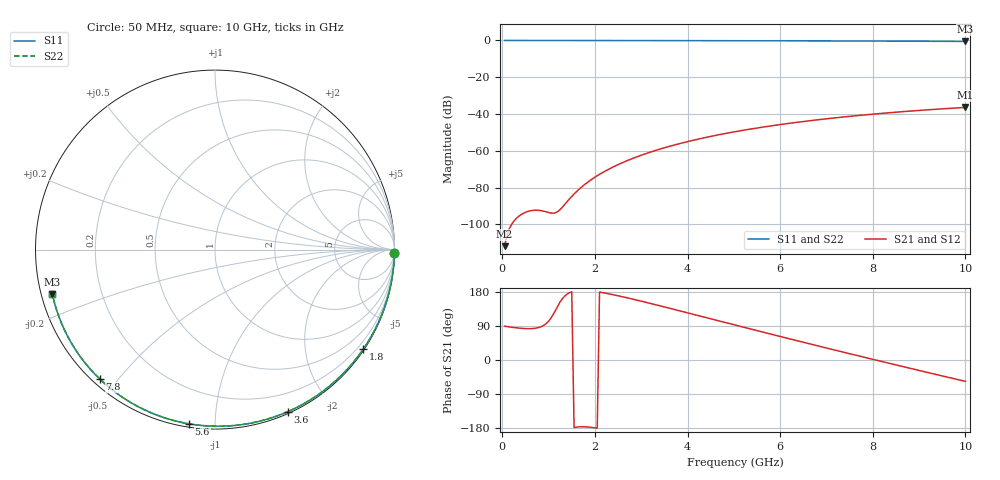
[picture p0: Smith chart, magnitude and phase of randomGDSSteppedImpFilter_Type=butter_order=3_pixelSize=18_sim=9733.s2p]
! freq	dB(S11)	phase(S11)	dB(S12)	phase(S12)
!  dB(S21)	phase(S21)	dB(S22)	phase(S22)
!S-par simulation data
#  GHz  S  DB  R 50
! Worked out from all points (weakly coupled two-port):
!   200 points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, 50 MHz to 10 GHz, reference 50 ohm
!   highest |S21| = -36.43 dB at 10 GHz (marker M1); lowest = -111.9 dB at 50 MHz (marker M2)
!   lowest |S11| = -0.5 dB at 10 GHz (marker M3), VSWR 32.11, Z = 1.59 - j6.71 ohm
!   |S11| at or under -10 dB: nowhere
!   |S22| runs from -0.5 to 0.0 dB; largest |S21 - S12| = 0
!   S11 on the Smith chart (normalised r, x): 50 MHz: open; 1.8 GHz: 0.03, -3.28; 3.6 GHz: 0.02, -1.54; 5.6 GHz: 0.02, -0.86; 7.8 GHz: 0.02, -0.45; 10 GHz: 0.03, -0.13
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0.05  -0.00 -1.0  -111.89 89.1  -111.89 89.1  -0.00 -1.0
0.45  -0.01 -8.6  -94.08 83.2  -94.08 83.2  -0.01 -8.6
0.85  -0.02 -16.2  -92.61 88.5  -92.61 88.5  -0.02 -16.2
1.25  -0.03 -23.7  -91.94 153.6  -91.94 153.6  -0.03 -23.7
1.7  -0.04 -32.0  -79.99 -176.2  -79.99 -176.2  -0.04 -32.0
1.75  -0.04 -33.0  -78.94 -176.2  -78.94 -176.2  -0.04 -33.0
1.8  -0.04 -33.9  -77.94 -176.4  -77.94 -176.4  -0.04 -33.9
2.1  -0.05 -39.4  -72.81 179.2  -72.81 179.2  -0.05 -39.4
2.3  -0.05 -43.0  -70.00 174.7  -70.00 174.7  -0.05 -43.0
2.5  -0.06 -46.6  -67.54 169.5  -67.54 169.5  -0.06 -46.6
2.9  -0.07 -53.7  -63.36 158.2  -63.36 158.2  -0.07 -53.7
3.4  -0.08 -62.4  -59.12 143.1  -59.12 143.1  -0.08 -62.4
3.6  -0.09 -65.8  -57.66 136.9  -57.66 136.9  -0.09 -65.8
4.3  -0.11 -77.6  -53.27 115.1  -53.27 115.1  -0.11 -77.6
5.05  -0.14 -89.8  -49.52 91.6  -49.52 91.6  -0.14 -89.8
5.6  -0.16 -98.5  -47.22 74.4  -47.22 74.4  -0.16 -98.5
6.15  -0.19 -107.0  -45.22 57.5  -45.22 57.5  -0.19 -107.0
6.7  -0.22 -115.3  -43.47 40.7  -43.47 40.7  -0.22 -115.3
7.8  -0.31 -131.7  -40.55 7.6  -40.55 7.6  -0.31 -131.7
8.35  -0.36 -139.9  -39.33 -8.6  -39.33 -8.6  -0.36 -139.9
9.2  -0.44 -152.5  -37.70 -33.4  -37.70 -33.4  -0.44 -152.5
10  -0.54 -164.7  -36.43 -56.4  -36.43 -56.4  -0.54 -164.7
